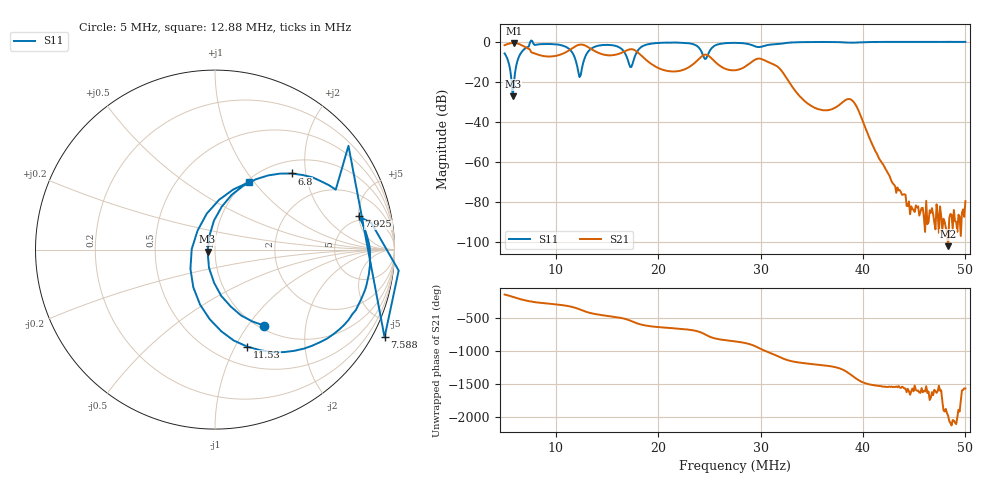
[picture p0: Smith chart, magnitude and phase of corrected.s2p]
! S11/S21 only; reverse parameters are placeholders. Device calibration unverified.
! [Saver CAL applied] C:\Users\aknya\MyProjects\rf-simulator\calibration2.cal | Ideal standards assumed | Input: NanoVNA F V2 profile | COM3 | 2026-09-08T12:13:42.2215312-04:00 | device calibration unverified
# HZ S RI R 50
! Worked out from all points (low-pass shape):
!   401 points, 5 MHz to 50 MHz, reference 50 ohm
!   highest |S21| = -0.67 dB at 5.9 MHz (marker M1); lowest = -102.2 dB at 48.31 MHz (marker M2)
!   |S21| within 3 dB of the highest: start of sweep to 7.362 MHz; 11.52 MHz to 13.44 MHz (1.915 MHz wide, 15.3 % of centre)
!   lowest |S11| = -27.4 dB at 5.787 MHz (marker M3), VSWR 1.09, Z = 46 - j1.05 ohm
!   |S11| at or under -10 dB: 5.357 MHz to 6.234 MHz (876.4 kHz wide, 15.1 % of centre); 11.98 MHz to 12.71 MHz (734.7 kHz wide, 5.95 % of centre); 17.08 MHz to 17.56 MHz (475.9 kHz wide, 2.75 % of centre)
!   S12 and S22 are empty: the file has one direction only
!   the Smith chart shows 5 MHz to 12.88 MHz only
!   S11 on the Smith chart (normalised r, x): 5 MHz: 1.06, -1.20; 6.8 MHz: 1.26, +1.67; 7.588 MHz: -0.54, -4.04; 7.925 MHz: 4.37, +5.02; 11.53 MHz: 0.70, -1.12; 12.88 MHz: 1.03, +0.93
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5000000  0.274 -0.4232  -0.6291 -0.5122  0 0  0 0
5787500  -0.0412 -0.0114  -0.9181 -0.085  0 0  0 0
5900000  -0.0315 0.0759  -0.9255 0.00634  0 0  0 0
6800000  0.4272 0.424  -0.5832 0.5144  0 0  0 0
7587500  0.9447 -0.4887  -0.2288 0.4959  0 0  0 0
7925000  0.8013 0.1856  -0.1251 0.4897  0 0  0 0
1.1525e7  0.1791 -0.5402  0.5412 0.3708  0 0  0 0
1.25375e7  -0.046 0.2003  0.7986 -0.2567  0 0  0 0
1.2875e7  0.187 0.3741  0.6301 -0.4781  0 0  0 0
1.50125e7  0.8072 -0.1715  -0.103 -0.4441  0 0  0 0
1.6475e7  0.3122 -0.5529  -0.3967 -0.3531  0 0  0 0
1.72625e7  -0.2223 -0.0673  -0.6387 -0.0544  0 0  0 0
1.81625e7  0.3684 0.5533  -0.3321 0.3682  0 0  0 0
2.0075e7  0.919 0.0792  0.0163 0.2135  0 0  0 0
2.44625e7  0.3188 -0.2464  0.447 -0.1157  0 0  0 0
2.75e7  0.8369 -0.3973  -0.1225 -0.1482  0 0  0 0
3.1325e7  0.7362 -0.4258  0.2253 0.1381  0 0  0 0
3.50375e7  0.703 -0.6697  -0.00934 -0.0221  0 0  0 0
3.8975e7  0.5408 -0.7654  0.0134 0.0304  0 0  0 0
4.2575e7  0.4438 -0.8719  -3.21e-05 -0.00045  0 0  0 0
4.83125e7  0.2215 -0.9554  -7.77e-06 -7.57e-07  0 0  0 0
5e7  0.1577 -0.9675  -5.66e-05 -8.73e-05  0 0  0 0
